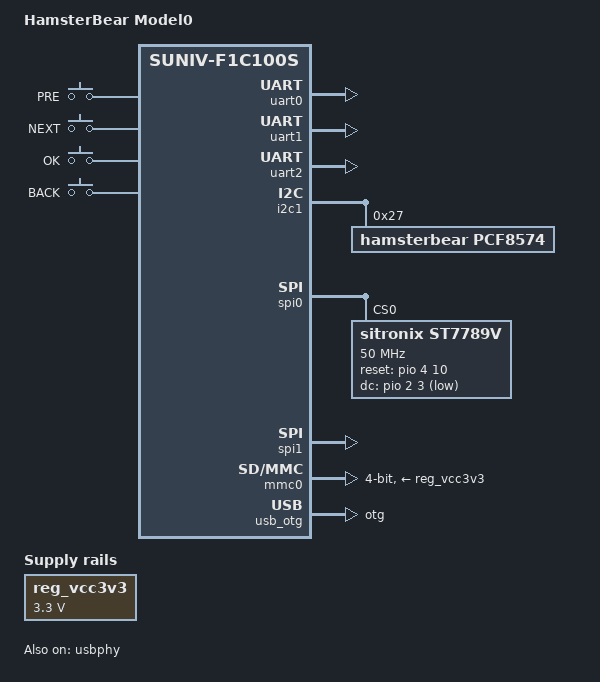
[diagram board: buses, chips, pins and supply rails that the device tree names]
// SPDX-License-Identifier: (GPL-2.0+ OR X11)
/*
 * Copyright 2018 Icenowy Zheng <icenowy@aosc.io>
 */

/dts-v1/;
#include "suniv-f1c100s-hamsterbear.dtsi"

#include <dt-bindings/gpio/gpio.h>

/ {
	model = "HamsterBear Model0";
	compatible = "hamsterbear,hamsterbear-model0", "allwinner,suniv-f1c100s";

	aliases {
		serial0 = &uart0;
		serial1 = &uart1;
		serial2 = &uart2;
		i2c0 = &i2c0;
		i2c1 = &i2c1;
		i2c2 = &i2c2;
		spi0 = &spi0;
		spi1 = &spi1;
	};

	chosen {
		stdout-path = "serial0:115200n8";
	};

        reg_vcc3v3: vcc3v3 {
                compatible = "regulator-fixed";
                regulator-name = "vcc3v3";
                regulator-min-microvolt = <3300000>;
                regulator-max-microvolt = <3300000>;
        };

	lradc: lradc@1c23400 {
		compatible = "allwinner,sun4i-a10-lradc-keys";
	        reg = <0x01c23400 0x100>;
        	interrupts = <22>;
	        vref-supply = <&reg_vcc3v3>;

	        button-132 {
        	    label = "PRE";
	            linux,code = <105>;
	            channel = <0>;
	            voltage = <174603>;
	        };

	        button-196 {
	            label = "NEXT";
	            linux,code = <106>;
	            channel = <0>;
	            voltage = <419047>;
       		};

	        button-233 {
	            label = "OK";
	            linux,code = <28>;
	            channel = <0>;
	            voltage = <698412>;
       		};

	        button-271 {
	            label = "BACK";
	            linux,code = <14>;
	            channel = <0>;
	            voltage = <803174>;
       		};
	};

/*
	lradc: lradc@1c23400 {
		compatible = "allwinner,suniv-f1c100s-lradc-keys";
	        reg = <0x01c23400 0x100>;
        	interrupts = <22>;
	        vref-supply = <&reg_vcc3v3>;
	};
*/
/*
	i2c0: i2c-gpio_hamsterbear0 {
		compatible = "i2c-gpio";
		#address-cells = <1>;
		#size-cells = <0>;
		status = "okay";
		i2c-gpio,delay-us = <5>;
		scl-gpios = <&pio 4 11 (GPIO_ACTIVE_HIGH|GPIO_OPEN_DRAIN)>;
		sda-gpios = <&pio 4 12 (GPIO_ACTIVE_HIGH|GPIO_OPEN_DRAIN)>;

		at24c02:at24c02@50{
			compatible = "atmel,24c02";
			reg = <0x50>;
			pagesize = <8>;
			num-addresses = <8>;
		};
	};
*/
/*
	i2c0: i2c@1c27000 {
		compatible = "allwinner,suniv-f1c100s-i2c";
		reg = <0x01C27000 0x100>;
		interrupts  = <7>;
		clocks = <&ccu CLK_BUS_I2C0>, <&ccu CLK_BUS_I2C0>;
		clock-names = "ahb", "mod";
		resets = <&ccu RST_BUS_I2C0>;
		status = "okay";
		#address-cells = <1>;
		#size-cells = <0>;
	};
*/
/*
	i2c0: i2c-gpio_hamsterbear0 {
		compatible = "i2c-gpio";
		#address-cells = <1>;
		#size-cells = <0>;
		status = "okay";
		i2c-gpio,delay-us = <5>;
		scl-gpios = <&pio 4 11 (GPIO_ACTIVE_HIGH|GPIO_OPEN_DRAIN)>;
		sda-gpios = <&pio 4 12 (GPIO_ACTIVE_HIGH|GPIO_OPEN_DRAIN)>;
	};
*/
/*
	i2c1: i2c-gpio_hamsterbear1 {
		compatible = "i2c-gpio";
		#address-cells = <1>;
		#size-cells = <0>;
		status = "okay";
		i2c-gpio,delay-us = <5>;
		scl-gpios = <&pio 3 5 (GPIO_ACTIVE_HIGH|GPIO_OPEN_DRAIN)>;
		sda-gpios = <&pio 3 6 (GPIO_ACTIVE_HIGH|GPIO_OPEN_DRAIN)>;
	};
*/
/*
	i2c2: i2c-gpio_hamsterbear2 {

		compatible = "i2c-gpio";
		#address-cells = <1>;
		#size-cells = <0>;
		status = "okay";
		i2c-gpio,delay-us = <5>;
		scl-gpios = <&pio 3 15 (GPIO_ACTIVE_HIGH|GPIO_OPEN_DRAIN)>;
		sda-gpios = <&pio 3 16 (GPIO_ACTIVE_HIGH|GPIO_OPEN_DRAIN)>;
	};
*/
    gpio_virt: gpio_virtualcontroller {
        compatible = "hamsterbear,gpio_virt";
        gpio-controller;
        #gpio-cells = <2>;
        ngpios = <4>;
    };
};

&dma {
	status = "okay";
};

&uart0 {
	pinctrl-names = "default";
	pinctrl-0 = <&uart0_pe_pins>;
	status = "okay";
};

&uart1 {
	pinctrl-names = "default";
	pinctrl-0 = <&uart1_pd_pins>;
	status = "okay";
};

&uart2 {
	pinctrl-names = "default";
	pinctrl-0 = <&uart2_pd_pins>;
	status = "okay";
};

&i2c0 {
	pinctrl-names = "default";
	pinctrl-0 = <&i2c0_pe_pins>;
	status = "disabled";
	i2c-max-frequency = <400000>;
/*
	ds1307: rtc@68 {
		compatible = "dallas,ds1307";
		status = "okay";
		reg = <0x68>;
		//interrupt-parent = <&gpio4>;
		//interrupts = <20 0>;
		trickle-resistor-ohms = <250>;
	};
*/
};

&i2c1 {
	pinctrl-names = "default";
	pinctrl-0 = <&i2c1_pd_pins>;
	status = "okay";
	i2c-max-frequency = <400000>;

    pcf8574: gpio_controller@27 {
        compatible = "hamsterbear,pcf8574";
        status = "okay";
		reg = <0x27>;
        gpio-controller;
        #gpio-cells = <2>;
        base = <0>;
        ngpios = <8>;
    };
};



&i2c2 {
	pinctl-names = "default";
	pinctrl-0 = <&i2c2_pd_pins>;
	status = "disabled";
	i2c-max-frequency = <400000>;
};



&spi0 {
	pinctrl-names = "default";
	pinctrl-0 = <&spi0_pd_pins>;
	status = "okay";
	spi-max-frequency = <50000000>;

	st7789v: st7789v@0 {
                #address-cells = <1>;
                #size-cells = <1>;
                compatible = "sitronix,st7789v";
                reg = <0>;
                spi-max-frequency = <50000000>;
                rgb;
                buswidth = <8>;
                rotate = <90>;
                fps = <60>;
                spi-cpol;
                spi-cpha;
                reset-gpios = <&pio 4 10 GPIO_ACTIVE_HIGH>;	// PE10
                dc-gpios = <&pio 2 3 GPIO_ACTIVE_LOW>;		// PC3
                debug = <1>;
        };
};

&spi1 {
	pinctrl-names = "default";
	pinctrl-0 = <&spi1_pa_pins>;
	status = "okay";
    spi-max-frequency = <50000000>;
/*
	ssd1306: ssd1306@0 {
                #address-cells = <1>;
                #size-cells = <1>;
                compatible = "solomon,ssd1306";
                reg = <0>;
                spi-max-frequency = <50000000>;
                buswidth = <8>;
                rotate = <0>;
                fps = <60>;
                spi-cpol;
                spi-cpha;
                reset-gpios = <&pio 4 9 GPIO_ACTIVE_HIGH>;
                dc-gpios = <&pio 4 10 GPIO_ACTIVE_LOW>;
                debug = <1>;
        };
*/
};

&mmc0 {
	vmmc-supply = <&reg_vcc3v3>;
	bus-width = <4>;
	broken-cd;
	status = "okay";
};

&mmc1 {
	vmmc-supply = <&reg_vcc3v3>;
	bus-width = <1>;
	broken-cd;
	status = "disabled";
};

&otg_sram {
        status = "okay";
};

&usb_otg {
        dr_mode = "otg";
        status = "okay";
};

&usbphy {
        usb0_id_det-gpio = <&pio 3 17 GPIO_ACTIVE_HIGH>; /* PE2 */
        status = "okay";
};
